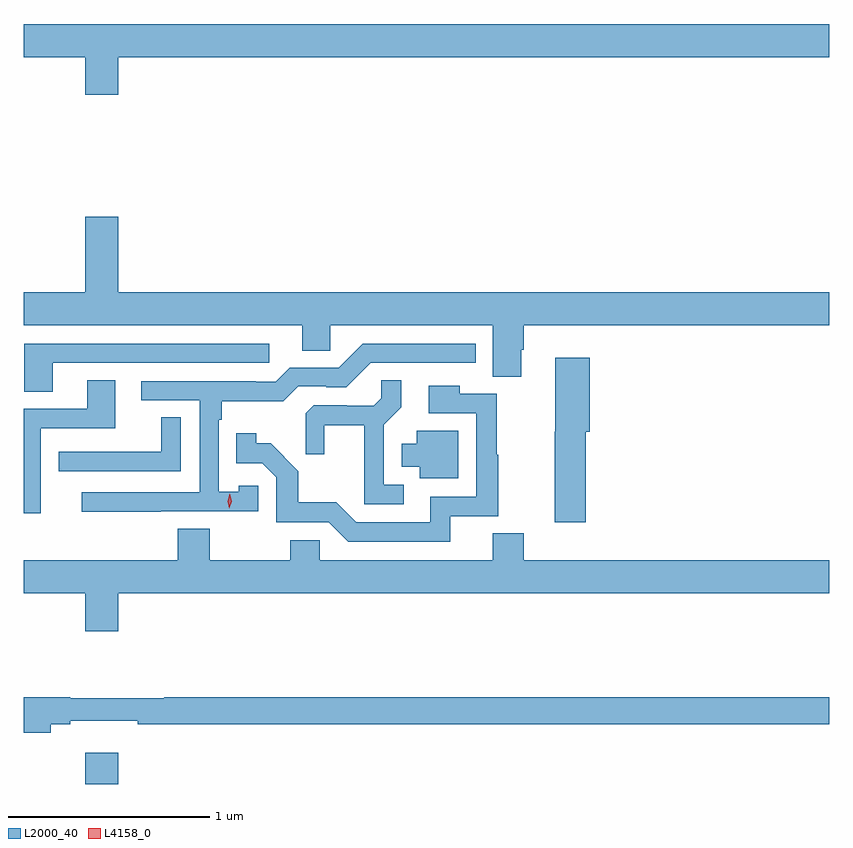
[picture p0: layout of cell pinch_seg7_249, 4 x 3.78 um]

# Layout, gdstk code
import gdstk
lib = gdstk.Library(unit=1e-6, precision=1e-09)
def R(c, l, rs):  # rectangles x0, y0, x1, y1
    for r in rs: c.add(gdstk.rectangle(r[:2], r[2:], *l))
def P(c, l, *ps):  # polygons
    for p in ps: c.add(gdstk.Polygon(p, *l))
L2000_40 = (2000, 40)
L4158_0 = (4158, 0)

pinch_seg7_249 = lib.new_cell('pinch_seg7_249')
R(pinch_seg7_249, L2000_40, [(812.36,1047.62,812.524,1047.775)])
P(pinch_seg7_249, L2000_40, [(812.524,1051.232),(816.055,1051.232),(816.055,1051.396),(812.055,1051.396),(812.055,1051.232),(812.36,1051.232),(812.36,1051.044),(812.524,1051.044)],
  [(814.525,1049.778),(814.538,1049.778),(814.538,1049.9),(816.055,1049.9),(816.055,1050.064),(812.524,1050.064),(812.524,1050.439),(812.36,1050.439),(812.36,1050.064),(812.055,1050.064),(812.055,1049.9),(813.437,1049.9),(813.437,1049.773),(813.576,1049.773),(813.576,1049.9),(814.385,1049.9),(814.385,1049.644),(814.525,1049.644)],
  [(812.197,1049.712),(813.274,1049.712),(813.274,1049.808),(812.057,1049.808),(812.057,1049.569),(812.197,1049.569)],
  [(812.735,1048.974),(813.219,1048.974),(813.219,1049.103),(813.123,1049.103),(813.123,1049.071),(813.024,1049.071),(813.024,1049.429),(813.037,1049.429),(813.037,1049.522),(813.344,1049.522),(813.417,1049.595),(813.556,1049.595),(813.556,1049.592),(813.657,1049.592),(813.777,1049.712),(814.3,1049.712),(814.3,1049.808),(813.738,1049.808),(813.618,1049.688),(813.375,1049.688),(813.306,1049.619),(813.206,1049.619),(813.206,1049.622),(812.637,1049.622),(812.637,1049.526),(812.928,1049.526),(812.928,1049.07),(812.343,1049.07),(812.343,1048.972),(812.735,1048.972)],
  [(814.847,1049.37),(814.865,1049.37),(814.865,1049.737),(814.694,1049.737),(814.694,1049.37),(814.693,1049.37),(814.693,1048.92),(814.847,1048.92)],
  [(813.943,1049.106),(813.843,1049.106),(813.843,1049.405),(813.929,1049.491),(813.929,1049.627),(813.831,1049.627),(813.831,1049.536),(813.794,1049.499),(813.66,1049.499),(813.66,1049.502),(813.495,1049.502),(813.454,1049.461),(813.454,1049.259),(813.548,1049.259),(813.548,1049.402),(813.746,1049.402),(813.746,1049.01),(813.943,1049.01)],
  [(812.139,1049.388),(812.509,1049.388),(812.509,1049.627),(812.369,1049.627),(812.369,1049.484),(812.055,1049.484),(812.055,1048.965),(812.139,1048.965)],
  [(814.172,1048.95),(814.411,1048.95),(814.411,1049.255),(814.403,1049.255),(814.403,1049.559),(814.221,1049.559),(814.221,1049.599),(814.065,1049.599),(814.065,1049.463),(814.302,1049.463),(814.302,1049.046),(814.073,1049.046),(814.073,1048.92),(813.705,1048.92),(813.607,1049.019),(813.418,1049.019),(813.418,1049.174),(813.28,1049.312),(813.21,1049.312),(813.21,1049.362),(813.109,1049.362),(813.109,1049.214),(813.24,1049.214),(813.309,1049.145),(813.309,1048.92),(813.57,1048.92),(813.666,1048.824),(814.172,1048.824)],
  [(812.835,1049.441),(812.737,1049.441),(812.737,1049.271),(812.341,1049.271),(812.341,1049.27),(812.229,1049.27),(812.229,1049.175),(812.835,1049.175)],
  [(814.213,1049.374),(814.007,1049.374),(814.007,1049.311),(813.932,1049.311),(813.932,1049.195),(814.022,1049.195),(814.022,1049.138),(814.213,1049.138)],
  [(812.524,1048.568),(816.055,1048.568),(816.055,1048.732),(814.538,1048.732),(814.538,1048.865),(814.385,1048.865),(814.385,1048.732),(813.525,1048.732),(813.525,1048.83),(813.379,1048.83),(813.379,1048.732),(812.979,1048.732),(812.979,1048.889),(812.819,1048.889),(812.819,1048.732),(812.055,1048.732),(812.055,1048.568),(812.36,1048.568),(812.36,1048.38),(812.524,1048.38)],
  [(812.188,1047.916),(812.284,1047.916),(812.284,1047.935),(812.62,1047.935),(812.62,1047.916),(816.055,1047.916),(816.055,1048.052),(812.753,1048.052),(812.753,1048.045),(812.284,1048.045),(812.284,1048.052),(812.055,1048.052),(812.055,1047.874),(812.188,1047.874)])
P(pinch_seg7_249, L4158_0, [(813.075,1048.989),(813.067,1049.026),(813.078,1049.061),(813.078,1049.062),(813.078,1049.061),(813.087,1049.025),(813.076,1048.989),(813.076,1048.989)])

lib.write_gds('pinch_seg7_249.gds')
